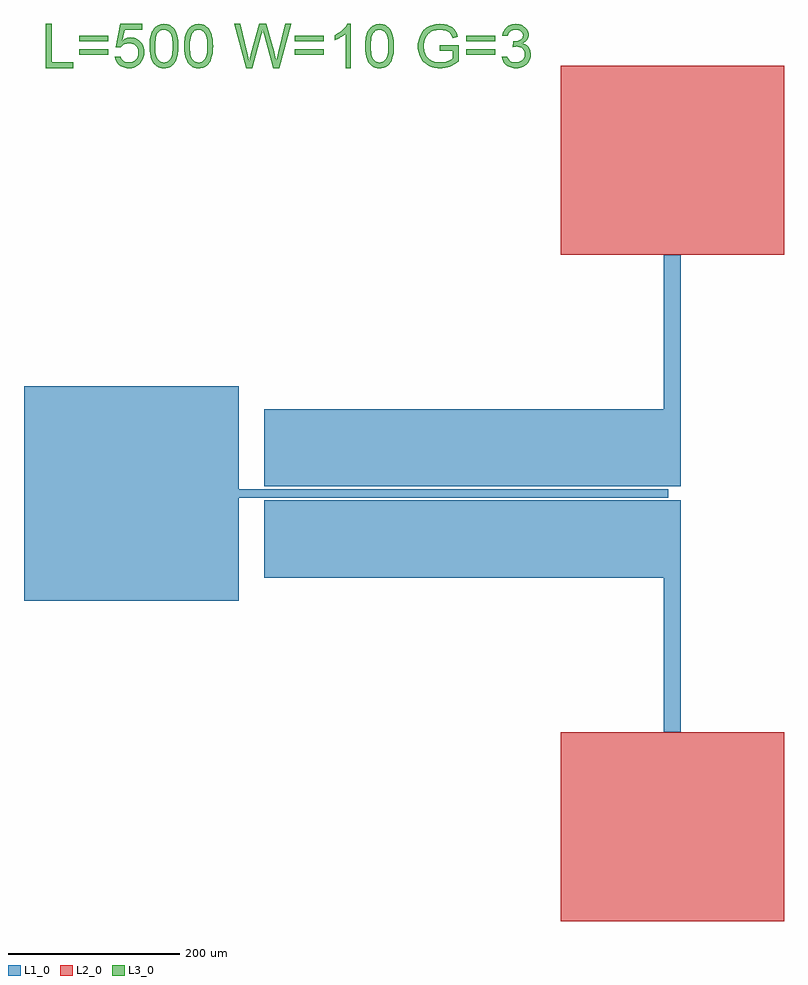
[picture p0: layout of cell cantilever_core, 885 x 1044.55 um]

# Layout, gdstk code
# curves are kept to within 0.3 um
import gdstk
lib = gdstk.Library(unit=1e-6, precision=1e-09)
def R(c, l, rs):  # rectangles x0, y0, x1, y1
    for r in rs: c.add(gdstk.rectangle(r[:2], r[2:], *l))
def P(c, l, *ps):  # polygons
    for p in ps: c.add(gdstk.Polygon(p, *l))
L1_0 = (1, 0)
L2_0 = (2, 0)
L3_0 = (3, 0)

rectangle = lib.new_cell('rectangle')
R(rectangle, L1_0, [(0,0,250,250)])

rectangle002 = lib.new_cell('rectangle002')
R(rectangle002, L1_0, [(0,0,500,10)])

rectangle003 = lib.new_cell('rectangle003')
R(rectangle003, L2_0, [(0,0,260,220)])

contact_block = lib.new_cell('contact_block')
contact_block.add(gdstk.Reference(rectangle003, (0,0)))

rectangle004 = lib.new_cell('rectangle004')
R(rectangle004, L1_0, [(0,0,20,180)])

rectangle005 = lib.new_cell('rectangle005')
R(rectangle005, L1_0, [(0,0,485,90)])

electrode_structure = lib.new_cell('electrode_structure')
electrode_structure.add(gdstk.Reference(contact_block, (775,1028)))
electrode_structure.add(gdstk.Reference(rectangle004, (895,848)))
electrode_structure.add(gdstk.Reference(rectangle005, (430,758)))

rectangle008 = lib.new_cell('rectangle008')
R(rectangle008, L2_0, [(0,0,260,220)])

contact_block007 = lib.new_cell('contact_block007')
contact_block007.add(gdstk.Reference(rectangle008, (0,0)))

rectangle009 = lib.new_cell('rectangle009')
R(rectangle009, L1_0, [(0,0,20,180)])

rectangle010 = lib.new_cell('rectangle010')
R(rectangle010, L1_0, [(0,0,485,90)])

electrode_structure006 = lib.new_cell('electrode_structure006')
electrode_structure006.add(gdstk.Reference(contact_block007, (775,252)))
electrode_structure006.add(gdstk.Reference(rectangle009, (895,472)))
electrode_structure006.add(gdstk.Reference(rectangle010, (430,652)))

text = lib.new_cell('text')
R(text, L3_0, [(44.31,15.665,78.24,22.425), (295.344,15.665,329.274,22.425), (494.827,15.665,528.757,22.425), (44.31,31.395,78.24,38.09), (295.344,31.395,329.274,38.09), (494.827,31.395,528.757,38.09)])
P(text, L3_0, [(5.253,0),(5.253,51.552),(12.047,51.552),(12.047,6.724),(37.333,6.724),(37.333,0)],
  [(85.908,13.448),(92.527,13.448),(93.748,10.506),(94.948,9.145),(97.057,7.8),(100.934,6.791),(104.168,6.852),(106.606,7.521),(108.791,8.764),(111.242,11.269),(112.472,13.615),(113.134,16.333),(112.889,21.597),(111.321,25.008),(107.88,27.917),(104.184,29.022),(99.4,28.827),(95.861,27.367),(92.947,24.655),(87.029,24.655),(92.002,51.552),(117.532,51.552),(117.532,44.828),(97.045,44.828),(94.278,31.975),(99.015,34.89),(103.979,35.862),(106.585,35.671),(110.178,34.667),(113.393,32.803),(115.326,31.082),(116.99,29.059),(118.793,25.614),(119.764,21.673),(119.949,18.772),(118.933,12.109),(115.886,6.409),(111.988,2.708),(107.943,0.785),(102.403,0),(97.815,0.45),(92.844,2.353),(89.348,5.245),(86.815,9.479)],
  [(145.181,0.13),(148.171,0.715),(152.331,2.99),(155.581,6.565),(157.076,9.36),(158.571,13.715),(159.286,17.745),(159.611,30.615),(159.026,35.815),(158.051,39.39),(156.166,43.94),(154.541,46.41),(151.421,49.205),(148.951,50.505),(144.596,51.48),(140.826,51.415),(137.836,50.83),(133.676,48.62),(129.646,43.68),(127.046,35.945),(126.266,25.805),(132.701,25.805),(133.546,35.425),(134.846,39.52),(137.121,42.705),(139.006,44.005),(141.281,44.72),(144.661,44.655),(147.001,43.875),(149.081,42.38),(150.836,40.235),(152.006,37.44),(152.916,32.89),(153.241,28.015),(152.916,18.72),(151.356,12.35),(149.081,9.165),(147.001,7.67),(142.971,6.695),(140.111,7.215),(136.926,9.165),(134.651,12.35),(133.091,18.72),(132.701,25.805),(126.266,25.805),(126.461,20.41),(126.851,16.77),(128.411,10.595),(131.336,5.2),(133.156,3.315),(136.341,1.3),(140.176,0.195)],
  [(185.526,0.13),(188.516,0.715),(192.676,2.99),(195.926,6.565),(197.421,9.36),(198.916,13.715),(199.631,17.745),(199.956,30.615),(199.371,35.815),(198.396,39.39),(196.511,43.94),(194.886,46.41),(191.766,49.205),(189.296,50.505),(184.941,51.48),(181.171,51.415),(178.181,50.83),(174.021,48.62),(169.991,43.68),(167.391,35.945),(166.611,25.805),(173.046,25.805),(173.891,35.425),(175.191,39.52),(177.466,42.705),(179.351,44.005),(181.626,44.72),(185.006,44.655),(187.346,43.875),(189.426,42.38),(191.181,40.235),(192.351,37.44),(193.261,32.89),(193.586,28.015),(193.261,18.72),(191.701,12.35),(189.426,9.165),(187.346,7.67),(183.316,6.695),(180.456,7.215),(177.271,9.165),(174.996,12.35),(173.436,18.72),(173.046,25.805),(166.611,25.805),(166.806,20.41),(167.196,16.77),(168.756,10.595),(171.681,5.2),(173.501,3.315),(176.686,1.3),(180.521,0.195)],
  [(238.637,0),(225.013,51.552),(231.983,51.552),(241.964,7.214),(254.046,51.552),(262.241,51.552),(270.641,21.38),(273.588,7.214),(284.2,51.552),(291.029,51.552),(276.95,0),(270.401,0),(257.969,45.318),(245.571,0)],
  [(360.687,0),(354.383,0),(354.383,40.17),(348.412,35.827),(341.775,32.57),(341.775,38.664),(346.731,41.413),(351.021,44.687),(354.401,48.172),(356.624,51.552),(360.687,51.552)],
  [(396.215,0.13),(399.205,0.715),(403.365,2.99),(406.615,6.565),(408.11,9.36),(409.605,13.715),(410.32,17.745),(410.645,30.615),(410.06,35.815),(409.085,39.39),(407.2,43.94),(405.575,46.41),(402.455,49.205),(399.985,50.505),(395.63,51.48),(391.86,51.415),(388.87,50.83),(384.71,48.62),(380.68,43.68),(378.08,35.945),(377.3,25.805),(383.735,25.805),(384.58,35.425),(385.88,39.52),(388.155,42.705),(390.04,44.005),(392.315,44.72),(395.695,44.655),(398.035,43.875),(400.115,42.38),(401.87,40.235),(403.04,37.44),(403.95,32.89),(404.275,28.015),(403.95,18.72),(402.39,12.35),(400.115,9.165),(398.035,7.67),(394.005,6.695),(391.145,7.215),(387.96,9.165),(385.685,12.35),(384.125,18.72),(383.735,25.805),(377.3,25.805),(377.495,20.41),(377.885,16.77),(379.445,10.595),(382.37,5.2),(384.19,3.315),(387.375,1.3),(391.21,0.195)],
  [(464.386,20.172),(464.386,26.897),(486.134,26.897),(486.134,7.985),(477.92,2.875),(470.409,0.499),(464.876,0),(459.75,0.386),(455.626,1.332),(451.13,3.152),(447.174,5.699),(444.374,8.426),(441.797,12.24),(439.977,16.569),(438.771,22.646),(438.77,28.405),(439.969,34.586),(441.779,39.119),(444.31,43.135),(447.016,45.945),(450.797,48.487),(455.135,50.257),(459.201,51.176),(464.351,51.552),(469.652,51.105),(474.419,49.766),(478.434,47.629),(480.376,46.011),(482.45,43.439),(484.782,38.438),(485.364,36.457),(479.235,34.776),(477.027,39.584),(474.279,42.245),(470.157,44.066),(465.913,44.78),(462.573,44.775),(457.74,43.987),(455.025,42.956),(451.736,40.886),(448.11,36.378),(446.14,30.766),(445.649,25.776),(445.939,21.592),(446.648,18.408),(448.013,15.164),(449.932,12.442),(451.996,10.535),(456.724,8.058),(459.553,7.245),(464.491,6.724),(471.417,7.699),(476.801,9.828),(479.48,11.522),(479.48,20.172)],
  [(536.46,13.448),(542.764,13.448),(544.231,10.375),(545.476,9.01),(547.548,7.733),(551.362,6.787),(554.539,6.835),(556.917,7.416),(559.046,8.495),(561.43,10.649),(563.016,13.635),(563.392,16.32),(563.044,18.898),(561.576,21.722),(559.359,23.719),(556.216,25.042),(552.591,25.328),(548.893,24.655),(549.593,31.379),(552.188,31.378),(556.537,32.408),(559.018,33.786),(560.275,35.205),(560.951,36.959),(560.986,39.396),(559.579,42.191),(556.046,44.364),(552.675,44.828),(549.304,44.407),(545.636,42.407),(544.533,41.045),(543.394,38.103),(537.091,38.103),(538.26,42.236),(540.822,46.509),(544.063,49.299),(546.94,50.672),(552.535,51.552),(556.571,51.123),(560.275,49.836),(563.396,47.804),(566.36,43.938),(567.484,40.156),(567.488,37.588),(566.416,34.121),(564.99,32.066),(560.485,28.928),(563.423,27.911),(566.469,25.779),(568.467,23.128),(569.45,20.772),(569.98,18.117),(569.885,13.558),(568.855,9.933),(566.943,6.677),(563.113,3.015),(559.627,1.178),(555.674,0.188),(552.78,0),(548.33,0.459),(543.434,2.398),(539.923,5.334),(537.371,9.551)])

cantilever_core = lib.new_cell('cantilever_core')
cantilever_core.add(gdstk.Reference(rectangle, (150,625)))
cantilever_core.add(gdstk.Reference(rectangle002, (400,745)))
cantilever_core.add(gdstk.Reference(electrode_structure, (0,0)))
cantilever_core.add(gdstk.Reference(electrode_structure006, (0,0)))
cantilever_core.add(gdstk.Reference(text, (170,1245)))

lib.write_gds('cantilever_core.gds')
